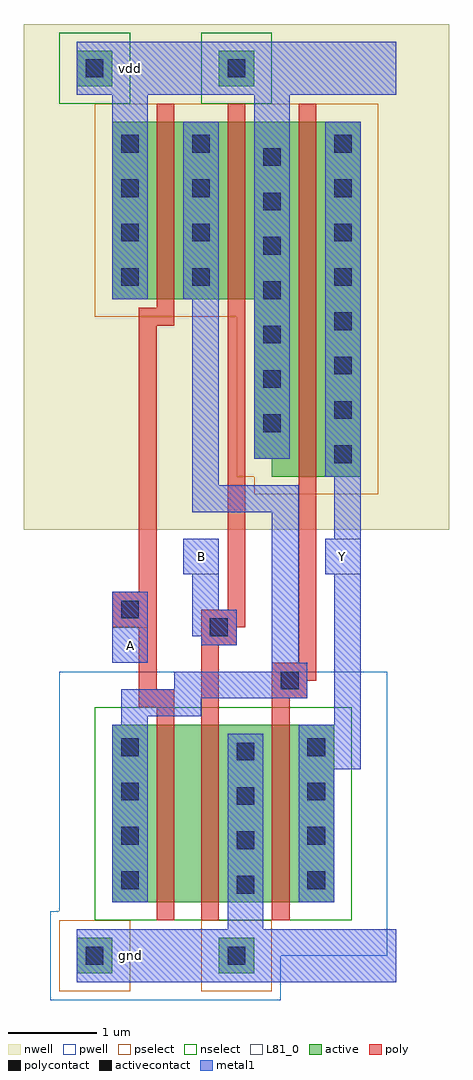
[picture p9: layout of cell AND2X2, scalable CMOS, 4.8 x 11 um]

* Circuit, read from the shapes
.subckt AND2X2 A B Y gnd vdd
M1 n1 A n2 gnd nfet w=2u l=0.2u
M2 gnd B n1 gnd nfet w=2u l=0.2u
M3 Y n2 gnd gnd nfet w=2u l=0.2u
M4 n2 A vdd vdd pfet w=2u l=0.2u
M5 vdd B n2 vdd pfet w=2u l=0.2u
M6 Y n2 vdd vdd pfet w=4u l=0.2u
.ends

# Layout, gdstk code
import gdstk
lib = gdstk.Library(unit=1e-6, precision=1e-09)
def R(c, l, rs):  # rectangles x0, y0, x1, y1
    for r in rs: c.add(gdstk.rectangle(r[:2], r[2:], *l))
def A(c, l, x, y, w, h, nx, ny, dx, dy):  # array of equal rectangles
    R(c, l, [(x+i*dx, y+j*dy, x+i*dx+w, y+j*dy+h) for i in range(nx) for j in range(ny)])
pwell = (41, 0)
nwell = (42, 0)
active = (43, 0)
pselect = (44, 0)
nselect = (45, 0)
poly = (46, 0)
polycontact = (47, 0)
activecontact = (48, 0)
metal1 = (49, 0)
L81_0 = (81, 0)

and2x2 = lib.new_cell('AND2X2')
R(and2x2, pwell, [(-0.5,-0.5,2.1,0), (-0.5,0,3.3,0.5), (-0.4,0.5,3.3,3.2)])
R(and2x2, nwell, [(-0.8,4.8,4,10.5)])
R(and2x2, active, [(-0.2,-0.2,0.2,0.2), (1.4,-0.2,1.8,0.2), (0.2,0.6,2.7,2.6), (2,5.4,3,5.6), (1.8,5.6,3,7.4), (0.2,7.4,3,9.4), (-0.2,9.8,0.2,10.2), (1.4,9.8,1.8,10.2)])
R(and2x2, pselect, [(-0.4,-0.4,0.4,0.4), (1.2,-0.4,2,0.4), (1.8,5.2,3.2,5.4), (1.6,5.4,3.2,7.2), (0,7.2,3.2,9.6)])
R(and2x2, nselect, [(0,0.4,2.9,2.8), (-0.4,9.6,0.4,10.4), (1.2,9.6,2,10.4)])
R(and2x2, poly, [(0.7,0.4,0.9,2.8), (1.2,0.4,1.4,3.5), (2,0.4,2.2,2.9), (0.5,2.8,0.9,3), (2,2.9,2.4,3.1), (0.5,3,0.7,3.7), (2,3.1,2.5,3.3), (2.3,3.3,2.5,9.6), (1.2,3.5,1.6,3.7), (0.2,3.7,0.7,4.1), (1.2,3.7,1.7,3.9), (1.5,3.9,1.7,9.6), (0.5,4.1,0.7,7.1), (0.5,7.1,0.9,7.3), (0.7,7.3,0.9,9.6)])
R(and2x2, polycontact, [(2.1,3,2.3,3.2), (1.3,3.6,1.5,3.8), (0.3,3.8,0.5,4)])
A(and2x2, activecontact, 1.6, 0.7, 0.2, 0.2, 1, 4, 0, 0.5)
A(and2x2, activecontact, 0.3, 0.75, 0.2, 0.2, 1, 4, 0, 0.5)
A(and2x2, activecontact, 2.4, 0.75, 0.2, 0.2, 1, 4, 0, 0.5)
A(and2x2, activecontact, 2.7, 5.55, 0.2, 0.2, 1, 8, 0, 0.5)
A(and2x2, activecontact, 1.9, 5.9, 0.2, 0.2, 1, 7, 0, 0.5)
A(and2x2, activecontact, 0.3, 7.55, 0.2, 0.2, 1, 4, 0, 0.5)
A(and2x2, activecontact, 1.1, 7.55, 0.2, 0.2, 1, 4, 0, 0.5)
R(and2x2, activecontact, [(-0.1,-0.1,0.1,0.1), (1.5,-0.1,1.7,0.1), (-0.1,9.9,0.1,10.1), (1.5,9.9,1.7,10.1)])
R(and2x2, metal1, [(-0.2,-0.3,3.4,0.3), (1.5,0.3,1.9,2.5), (0.2,0.6,0.6,2.6), (2.3,0.6,2.7,2.1), (2.3,2.1,3,2.6), (0.3,2.6,0.6,2.7), (2.7,2.6,3,4.3), (0.3,2.7,1.2,2.9), (0.3,2.9,2.4,3), (0.9,3,2.4,3.2), (2,3.2,2.4,3.3), (0.2,3.3,0.6,4.1), (2,3.3,2.3,5), (1.2,3.5,1.6,3.6), (1.1,3.6,1.6,3.9), (1.1,3.9,1.4,4.3), (1,4.3,1.4,4.7), (2.6,4.3,3,4.7), (2.7,4.7,3,5.4), (1.1,5,2.3,5.3), (1.1,5.3,1.4,7.4), (2.6,5.4,3,9.4), (1.8,5.6,2.2,9.7), (0.2,7.4,0.6,9.7), (1,7.4,1.4,9.4), (-0.2,9.7,3.4,10.3)])
R(and2x2, L81_0, [(0.2,3.3,0.6,3.7), (1,4.3,1.4,4.7), (2.6,4.3,3,4.7)])
and2x2.add(gdstk.Label('vdd', (0.4,10), layer=49, texttype=0))
and2x2.add(gdstk.Label('gnd', (0.4,0), layer=49, texttype=0))
and2x2.add(gdstk.Label('A', (0.4,3.5), layer=49, texttype=0))
and2x2.add(gdstk.Label('B', (1.2,4.5), layer=49, texttype=0))
and2x2.add(gdstk.Label('Y', (2.8,4.5), layer=49, texttype=0))

lib.write_gds('AND2X2.gds')
